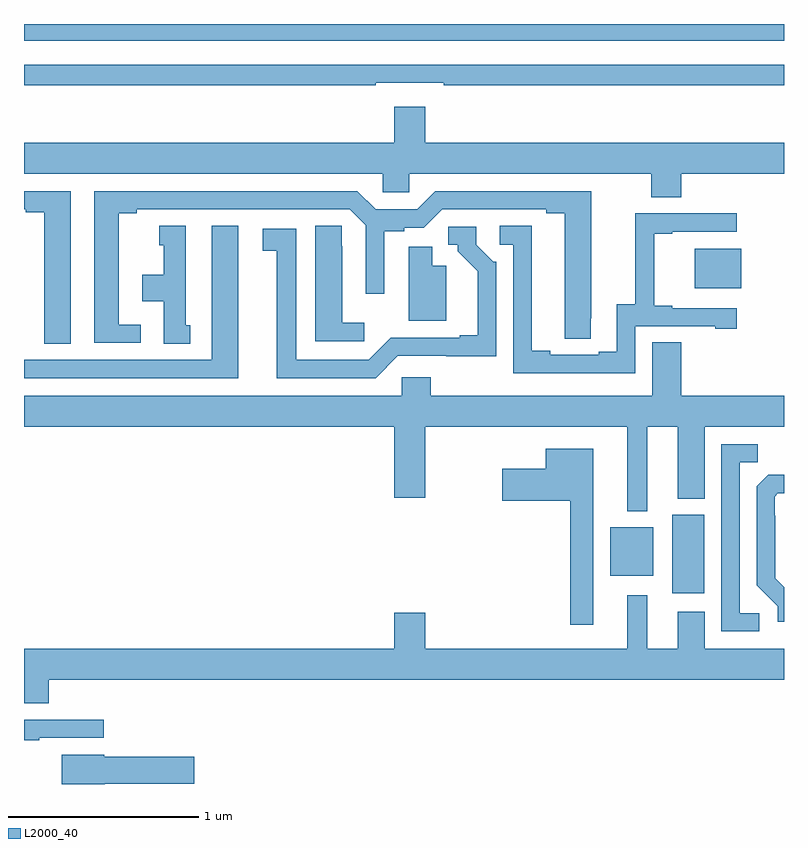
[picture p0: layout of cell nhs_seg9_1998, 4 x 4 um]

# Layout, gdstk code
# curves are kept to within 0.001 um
import gdstk
lib = gdstk.Library(unit=1e-6, precision=1e-09)
def R(c, l, rs):  # rectangles x0, y0, x1, y1
    for r in rs: c.add(gdstk.rectangle(r[:2], r[2:], *l))
def P(c, l, *ps):  # polygons
    for p in ps: c.add(gdstk.Polygon(p, *l))
L2000_40 = (2000, 40)

nhs_seg9_1998 = lib.new_cell('nhs_seg9_1998')
R(nhs_seg9_1998, L2000_40, [(226.412,1235.505,226.579,1235.917), (226.085,1235.597,226.312,1235.851), (226.529,1237.109,226.774,1237.318), (223,1238.412,227,1238.5)])
P(nhs_seg9_1998, L2000_40, [(224.852,1238.19),(225.208,1238.19),(225.208,1238.178),(227,1238.178),(227,1238.286),(223,1238.286),(223,1238.178),(224.852,1238.178)],
  [(226.46,1237.712),(227,1237.712),(227,1237.876),(225.112,1237.876),(225.112,1238.065),(224.948,1238.065),(224.948,1237.876),(223,1237.876),(223,1237.712),(224.889,1237.712),(224.889,1237.614),(225.027,1237.614),(225.027,1237.712),(226.3,1237.712),(226.3,1237.588),(226.46,1237.588)],
  [(223.615,1236.918),(223.498,1236.918),(223.498,1237.504),(223.594,1237.504),(223.594,1237.524),(224.715,1237.524),(224.799,1237.44),(224.799,1237.08),(224.896,1237.08),(224.896,1237.408),(225,1237.408),(225,1237.428),(225.105,1237.428),(225.201,1237.524),(225.749,1237.524),(225.749,1237.504),(225.845,1237.504),(225.845,1236.844),(225.984,1236.844),(225.985,1237.62),(225.165,1237.62),(225.069,1237.524),(224.851,1237.524),(224.755,1237.62),(223.37,1237.62),(223.37,1236.822),(223.615,1236.822)],
  [(223.246,1237.62),(223,1237.62),(223,1237.524),(223.01,1237.524),(223.01,1237.509),(223.106,1237.509),(223.106,1236.817),(223.246,1236.817)],
  [(226.218,1236.909),(226.637,1236.909),(226.637,1236.897),(226.75,1236.897),(226.75,1237.005),(226.411,1237.005),(226.411,1237.018),(226.316,1237.018),(226.316,1237.395),(226.411,1237.395),(226.411,1237.407),(226.75,1237.407),(226.75,1237.503),(226.216,1237.503),(226.216,1237.025),(226.121,1237.025),(226.121,1236.774),(226.025,1236.774),(226.025,1236.759),(225.769,1236.759),(225.769,1236.779),(225.673,1236.779),(225.673,1237.439),(225.504,1237.439),(225.504,1237.338),(225.576,1237.338),(225.576,1236.663),(226.218,1236.663)],
  [(224.791,1236.928),(224.674,1236.928),(224.674,1237.331),(224.673,1237.331),(224.673,1237.439),(224.534,1237.439),(224.534,1236.831),(224.791,1236.831)],
  [(224.128,1237.438),(223.988,1237.438),(223.988,1236.732),(223,1236.732),(223,1236.636),(224.128,1236.636)],
  [(223.876,1236.915),(223.852,1236.915),(223.852,1237.438),(223.712,1237.438),(223.712,1237.335),(223.736,1237.335),(223.736,1237.18),(223.622,1237.18),(223.622,1237.04),(223.736,1237.04),(223.736,1236.817),(223.876,1236.817)],
  [(224.967,1236.753),(225.486,1236.752),(225.486,1237.248),(225.471,1237.248),(225.381,1237.338),(225.381,1237.434),(225.234,1237.434),(225.234,1237.338),(225.284,1237.338),(225.284,1237.303),(225.389,1237.198),(225.389,1236.862),(225.293,1236.862),(225.293,1236.849),(224.931,1236.849),(224.814,1236.732),(224.434,1236.732),(224.434,1237.422),(224.256,1237.422),(224.256,1237.306),(224.33,1237.306),(224.33,1236.636),(224.85,1236.636)],
  [(225.223,1237.228),(225.148,1237.228),(225.148,1237.327),(225.026,1237.327),(225.026,1236.938),(225.223,1236.938)],
  [(225.112,1236.38),(226.175,1236.38),(226.175,1235.936),(226.279,1235.936),(226.279,1236.38),(226.442,1236.38),(226.442,1236.002),(226.582,1236.002),(226.582,1236.38),(227,1236.38),(227,1236.544),(226.46,1236.544),(226.46,1236.824),(226.307,1236.824),(226.307,1236.544),(225.14,1236.544),(225.14,1236.642),(224.988,1236.642),(224.988,1236.544),(223,1236.544),(223,1236.38),(224.948,1236.38),(224.948,1236.006),(225.112,1236.006)],
  [(226.87,1235.4),(226.767,1235.4),(226.767,1236.193),(226.863,1236.193),(226.863,1236.288),(226.671,1236.288),(226.671,1235.304),(226.87,1235.304)],
  [(225.997,1236.265),(225.746,1236.265),(225.746,1236.16),(225.516,1236.16),(225.516,1235.99),(225.876,1235.99),(225.876,1235.337),(225.997,1235.337)],
  [(227,1235.536),(226.953,1235.583),(226.953,1235.912),(226.95,1235.912),(226.95,1236.012),(226.968,1236.03),(227,1236.03),(227,1236.127),(226.916,1236.127),(226.857,1236.068),(226.857,1235.546),(226.967,1235.436),(226.967,1235.354),(227,1235.354)],
  [(223.13,1235.048),(227,1235.048),(227,1235.212),(226.582,1235.212),(226.582,1235.407),(226.442,1235.407),(226.442,1235.212),(226.279,1235.212),(226.279,1235.494),(226.175,1235.494),(226.175,1235.212),(225.112,1235.212),(225.112,1235.401),(224.948,1235.401),(224.948,1235.212),(223,1235.212),(223,1234.924),(223.13,1234.924)],
  [(223.081,1234.743),(223.42,1234.743),(223.42,1234.839),(223,1234.839),(223,1234.731),(223.081,1234.731)],
  [(223.426,1234.502),(223.897,1234.502),(223.897,1234.644),(223.422,1234.644),(223.422,1234.654),(223.199,1234.654),(223.199,1234.5),(223.426,1234.5)])

lib.write_gds('nhs_seg9_1998.gds')
